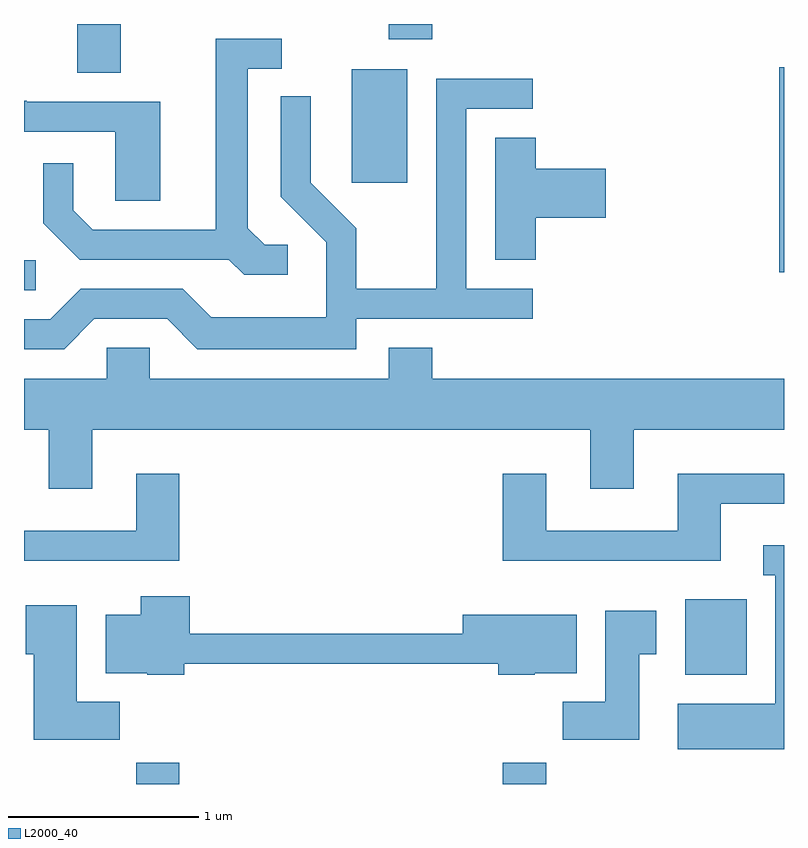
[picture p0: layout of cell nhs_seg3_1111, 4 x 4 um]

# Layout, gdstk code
import gdstk
lib = gdstk.Library(unit=1e-6, precision=1e-09)
def R(c, l, rs):  # rectangles x0, y0, x1, y1
    for r in rs: c.add(gdstk.rectangle(r[:2], r[2:], *l))
def P(c, l, *ps):  # polygons
    for p in ps: c.add(gdstk.Polygon(p, *l))
L2000_40 = (2000, 40)

nhs_seg3_1111 = lib.new_cell('nhs_seg3_1111')
R(nhs_seg3_1111, L2000_40, [(218.201,1161.892,218.429,1162.004), (220.131,1161.892,220.359,1162.004), (221.091,1162.466,221.414,1162.864), (217.611,1164.491,217.673,1164.649), (221.586,1164.586,221.611,1165.664), (219.336,1165.056,219.629,1165.654), (217.891,1165.636,218.119,1165.892), (219.531,1165.811,219.759,1165.892)])
P(nhs_seg3_1111, L2000_40, [(218.998,1164.729),(218.877,1164.729),(218.789,1164.817),(218.789,1165.656),(218.968,1165.656),(218.968,1165.814),(218.621,1165.814),(218.621,1164.809),(217.972,1164.809),(217.869,1164.912),(217.869,1165.158),(217.711,1165.158),(217.711,1164.844),(217.904,1164.651),(218.689,1164.651),(218.769,1164.571),(218.998,1164.571)],
  [(217.982,1164.341),(218.364,1164.341),(218.524,1164.181),(219.359,1164.181),(219.359,1164.341),(220.288,1164.341),(220.288,1164.499),(219.939,1164.499),(219.939,1165.446),(220.288,1165.446),(220.288,1165.604),(219.781,1165.604),(219.781,1164.499),(219.359,1164.499),(219.359,1164.817),(219.119,1165.057),(219.119,1165.513),(218.961,1165.513),(218.961,1164.984),(219.201,1164.744),(219.201,1164.349),(218.597,1164.349),(218.447,1164.499),(217.909,1164.499),(217.749,1164.339),(217.611,1164.339),(217.611,1164.181),(217.822,1164.181)],
  [(218.329,1165.484),(217.625,1165.484),(217.625,1165.489),(217.611,1165.489),(217.611,1165.326),(218.091,1165.326),(218.091,1164.961),(218.329,1164.961)],
  [(220.304,1164.871),(220.674,1164.871),(220.674,1165.129),(220.304,1165.129),(220.304,1165.294),(220.091,1165.294),(220.091,1164.651),(220.304,1164.651)],
  [(217.969,1163.756),(220.591,1163.756),(220.591,1163.446),(220.819,1163.446),(220.819,1163.756),(221.611,1163.756),(221.611,1164.024),(219.759,1164.024),(219.759,1164.189),(219.531,1164.189),(219.531,1164.024),(218.274,1164.024),(218.274,1164.189),(218.046,1164.189),(218.046,1164.024),(217.611,1164.024),(217.611,1163.756),(217.741,1163.756),(217.741,1163.446),(217.969,1163.446)],
  [(221.279,1163.366),(221.611,1163.366),(221.611,1163.524),(221.051,1163.524),(221.051,1163.224),(220.359,1163.224),(220.359,1163.524),(220.131,1163.524),(220.131,1163.066),(221.279,1163.066)],
  [(218.429,1163.524),(218.201,1163.524),(218.201,1163.224),(217.611,1163.224),(217.611,1163.066),(218.429,1163.066)],
  [(221.611,1163.149),(221.503,1163.149),(221.503,1162.991),(221.566,1162.991),(221.566,1162.314),(221.051,1162.314),(221.051,1162.076),(221.611,1162.076)],
  [(218.454,1162.526),(220.106,1162.526),(220.106,1162.466),(220.3,1162.466),(220.3,1162.476),(220.519,1162.476),(220.519,1162.784),(219.921,1162.784),(219.921,1162.684),(218.484,1162.684),(218.484,1162.879),(218.226,1162.879),(218.226,1162.784),(218.041,1162.784),(218.041,1162.476),(218.26,1162.476),(218.26,1162.466),(218.454,1162.466)],
  [(218.114,1162.324),(217.889,1162.324),(217.889,1162.834),(217.621,1162.834),(217.621,1162.576),(217.661,1162.576),(217.661,1162.126),(218.114,1162.126)],
  [(220.849,1162.576),(220.939,1162.576),(220.939,1162.804),(220.671,1162.804),(220.671,1162.324),(220.446,1162.324),(220.446,1162.126),(220.849,1162.126)])

lib.write_gds('nhs_seg3_1111.gds')
